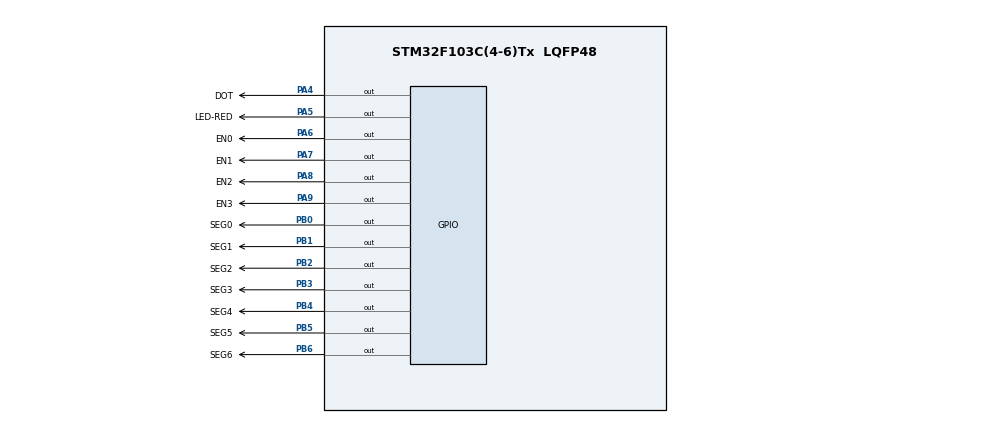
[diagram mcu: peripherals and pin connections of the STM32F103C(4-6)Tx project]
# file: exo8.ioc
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Mcu.Family=STM32F1
Mcu.Name=STM32F103C(4-6)Tx
Mcu.Package=LQFP48
NVIC.PriorityGroup=NVIC_PRIORITYGROUP_4
NVIC.TIM2_IRQn=true\:0\:0\:false\:false\:true\:true\:true
PA4.GPIO_Label=DOT
PA4.Signal=GPIO_Output
PA5.GPIO_Label=LED-RED
PA5.Signal=GPIO_Output
PA6.GPIO_Label=EN0
PA6.Signal=GPIO_Output
PA7.GPIO_Label=EN1
PA7.Signal=GPIO_Output
PA8.GPIO_Label=EN2
PA8.Signal=GPIO_Output
PA9.GPIO_Label=EN3
PA9.Signal=GPIO_Output
PB0.GPIO_Label=SEG0
PB0.Signal=GPIO_Output
PB1.GPIO_Label=SEG1
PB1.Signal=GPIO_Output
PB2.GPIO_Label=SEG2
PB2.Signal=GPIO_Output
PB3.GPIO_Label=SEG3
PB3.Signal=GPIO_Output
PB4.GPIO_Label=SEG4
PB4.Signal=GPIO_Output
PB5.GPIO_Label=SEG5
PB5.Signal=GPIO_Output
PB6.GPIO_Label=SEG6
PB6.Signal=GPIO_Output
ProjectManager.HeapSize=0x200
ProjectManager.StackSize=0x400
ProjectManager.TargetToolchain=STM32CubeIDE
RCC.APB1Freq_Value=8000000
RCC.APB2Freq_Value=8000000
TIM2.Period=9
TIM2.Prescaler=7999
VP_SYS_VS_ND.Mode=No_Debug
VP_TIM2_VS_ClockSourceINT.Mode=Internal
board=custom

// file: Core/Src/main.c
/* USER CODE BEGIN Header */
/**
  ******************************************************************************
  * @file           : main.c
  * @brief          : Main program body
  ******************************************************************************
  * @attention
  *
  * <h2><center>&copy; Copyright (c) 2022 STMicroelectronics.
  * All rights reserved.</center></h2>
  *
  * This software component is licensed by ST under BSD 3-Clause license,
  * the "License"; You may not use this file except in compliance with the
  * License. You may obtain a copy of the License at:
  *                        opensource.org/licenses/BSD-3-Clause
  *
  ******************************************************************************
  */
/* USER CODE END Header */
#include <control_clock_buffer.h>
#include <control_led_7SEG.h>
#include "main.h"

/* USER CODE BEGIN Includes */
#include "software_timer.h"
#include "clock.h"
#include "global.h"
/* USER CODE END Includes */

TIM_HandleTypeDef htim2;

void SystemClock_Config(void);
static void MX_GPIO_Init(void);
static void MX_TIM2_Init(void);

int main(void)
{

  /* MCU Configuration--------------------------------------------------------*/

  /* Reset of all peripherals, Initializes the Flash interface and the Systick. */
  HAL_Init();

  /* Configure the system clock */
  SystemClock_Config();

  /* Initialize all configured peripherals */
  MX_GPIO_Init();
  MX_TIM2_Init();
  /* USER CODE BEGIN 2 */

  HAL_TIM_Base_Start_IT(&htim2);

  /* USER CODE END 2 */

  /* Infinite loop */
  /* USER CODE BEGIN WHILE */

  //initial timer counter
  setTimer1(1000);
  setTimer2(1000);
  setTimer3(1000);
  while (1)
  {

    /* USER CODE END WHILE */

    /* USER CODE BEGIN 3 */
	  if(timer3_flag == 1)
	  {// control LED-RED and DOT-LED
		  HAL_GPIO_TogglePin(LED_RED_GPIO_Port, LED_RED_Pin);
		  HAL_GPIO_TogglePin(DOT_GPIO_Port, DOT_Pin);
		  setTimer3(1000);
	  }

	  if(timer1_flag == 1)
	  {// run time as a clock
		  clock();
		  updateClockBuffer();
		  setTimer1(1000);
	  }

	  if(timer2_flag == 1)
	  {// display sequence number in 4 led 7-SEG
		  update7SEG(index_led++);
		  if(index_led == MAX_LED) index_led = 0;
		  setTimer2(250);
	  }
  }
  /* USER CODE END 3 */
}

void SystemClock_Config(void)
{
  RCC_OscInitTypeDef RCC_OscInitStruct = {0};
  RCC_ClkInitTypeDef RCC_ClkInitStruct = {0};

  /** Initializes the RCC Oscillators according to the specified parameters
  * in the RCC_OscInitTypeDef structure.
  */
  RCC_OscInitStruct.OscillatorType = RCC_OSCILLATORTYPE_HSI;
  RCC_OscInitStruct.HSIState = RCC_HSI_ON;
  RCC_OscInitStruct.HSICalibrationValue = RCC_HSICALIBRATION_DEFAULT;
  RCC_OscInitStruct.PLL.PLLState = RCC_PLL_NONE;
  if (HAL_RCC_OscConfig(&RCC_OscInitStruct) != HAL_OK)
  {
    Error_Handler();
  }
  /** Initializes the CPU, AHB and APB buses clocks
  */
  RCC_ClkInitStruct.ClockType = RCC_CLOCKTYPE_HCLK|RCC_CLOCKTYPE_SYSCLK
                              |RCC_CLOCKTYPE_PCLK1|RCC_CLOCKTYPE_PCLK2;
  RCC_ClkInitStruct.SYSCLKSource = RCC_SYSCLKSOURCE_HSI;
  RCC_ClkInitStruct.AHBCLKDivider = RCC_SYSCLK_DIV1;
  RCC_ClkInitStruct.APB1CLKDivider = RCC_HCLK_DIV1;
  RCC_ClkInitStruct.APB2CLKDivider = RCC_HCLK_DIV1;

  if (HAL_RCC_ClockConfig(&RCC_ClkInitStruct, FLASH_LATENCY_0) != HAL_OK)
  {
    Error_Handler();
  }
}

static void MX_TIM2_Init(void)
{

  TIM_ClockConfigTypeDef sClockSourceConfig = {0};
  TIM_MasterConfigTypeDef sMasterConfig = {0};

  htim2.Instance = TIM2;
  htim2.Init.Prescaler = 7999;
  htim2.Init.CounterMode = TIM_COUNTERMODE_UP;
  htim2.Init.Period = 9;
  htim2.Init.ClockDivision = TIM_CLOCKDIVISION_DIV1;
  htim2.Init.AutoReloadPreload = TIM_AUTORELOAD_PRELOAD_DISABLE;
  if (HAL_TIM_Base_Init(&htim2) != HAL_OK)
  {
    Error_Handler();
  }
  sClockSourceConfig.ClockSource = TIM_CLOCKSOURCE_INTERNAL;
  if (HAL_TIM_ConfigClockSource(&htim2, &sClockSourceConfig) != HAL_OK)
  {
    Error_Handler();
  }
  sMasterConfig.MasterOutputTrigger = TIM_TRGO_RESET;
  sMasterConfig.MasterSlaveMode = TIM_MASTERSLAVEMODE_DISABLE;
  if (HAL_TIMEx_MasterConfigSynchronization(&htim2, &sMasterConfig) != HAL_OK)
  {
    Error_Handler();
  }

}

static void MX_GPIO_Init(void)
{
  GPIO_InitTypeDef GPIO_InitStruct = {0};

  /* GPIO Ports Clock Enable */
  __HAL_RCC_GPIOA_CLK_ENABLE();
  __HAL_RCC_GPIOB_CLK_ENABLE();

  /*Configure GPIO pin Output Level */
  HAL_GPIO_WritePin(GPIOA, DOT_Pin|LED_RED_Pin|EN0_Pin|EN1_Pin
                          |EN2_Pin|EN3_Pin, GPIO_PIN_RESET);

  /*Configure GPIO pin Output Level */
  HAL_GPIO_WritePin(GPIOB, SEG0_Pin|SEG1_Pin|SEG2_Pin|SEG3_Pin
                          |SEG4_Pin|SEG5_Pin|SEG6_Pin, GPIO_PIN_RESET);

  /*Configure GPIO pins : DOT_Pin LED_RED_Pin EN0_Pin EN1_Pin
                           EN2_Pin EN3_Pin */
  GPIO_InitStruct.Pin = DOT_Pin|LED_RED_Pin|EN0_Pin|EN1_Pin
                          |EN2_Pin|EN3_Pin;
  GPIO_InitStruct.Mode = GPIO_MODE_OUTPUT_PP;
  GPIO_InitStruct.Pull = GPIO_NOPULL;
  GPIO_InitStruct.Speed = GPIO_SPEED_FREQ_LOW;
  HAL_GPIO_Init(GPIOA, &GPIO_InitStruct);

  /*Configure GPIO pins : SEG0_Pin SEG1_Pin SEG2_Pin SEG3_Pin
                           SEG4_Pin SEG5_Pin SEG6_Pin */
  GPIO_InitStruct.Pin = SEG0_Pin|SEG1_Pin|SEG2_Pin|SEG3_Pin
                          |SEG4_Pin|SEG5_Pin|SEG6_Pin;
  GPIO_InitStruct.Mode = GPIO_MODE_OUTPUT_PP;
  GPIO_InitStruct.Pull = GPIO_NOPULL;
  GPIO_InitStruct.Speed = GPIO_SPEED_FREQ_LOW;
  HAL_GPIO_Init(GPIOB, &GPIO_InitStruct);

}

/* USER CODE BEGIN 4 */

HAL_TIM_PeriodElapsedCallback(TIM_HandleTypeDef *htim)
{
	timerRun();
}

/* USER CODE END 4 */

void Error_Handler(void)
{
  __disable_irq();
  while (1)
  {
  }
}

/************************ (C) COPYRIGHT STMicroelectronics *****END OF FILE****/
